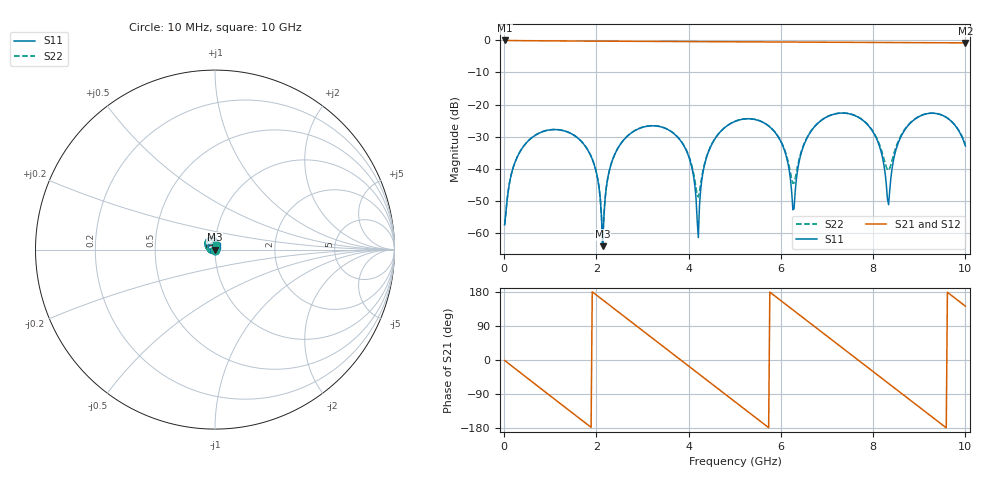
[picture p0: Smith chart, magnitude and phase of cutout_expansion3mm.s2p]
! Cutout equivalence validation - 38 mm 50 ohm symmetric stripline
! Case: Cutout, 3 mm expansion, stitching vias kept
! Solver: Ansys HFSS 3D Layout 2026 R1, broadband adaptive 1-5 GHz,
!  Delta S 0.02, interpolating sweep 10 MHz - 10 GHz
# GHz S MA R 50.000000
! Terminal data exported
! Port[1] = U1.PAD1.SIG
! Port[2] = U2.PAD1.SIG
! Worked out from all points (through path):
!   401 points, 10 MHz to 10 GHz, reference 50 ohm
!   highest |S21| = -0.01 dB at 10 MHz (marker M1); lowest = -0.8 dB at 10 GHz (marker M2)
!   group delay of S21, straight-line fit = 260 ps
!   lowest |S11| = -64.2 dB at 2.135 GHz (marker M3), VSWR 1.00, Z = 49.9 + j0.0304 ohm
!   |S11| at or under -10 dB: start of sweep to end of sweep
!   |S22| runs from -63.2 to -22.6 dB; largest |S21 - S12| = 1.4e-13
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0.01  0.001325 -11.7  0.9986 -1.0  0.9986 -1.0  0.001325 -11.7
0.21  0.01114 -91.2  0.9941 -20.1  0.9941 -20.1  0.01118 -90.8
0.535  0.02763 -132.1  0.989 -50.8  0.989 -50.8  0.02774 -131.1
1.085  0.04062 171.4  0.9822 -102.6  0.9822 -102.6  0.04081 173.3
1.685  0.02603 113.2  0.9768 -159.0  0.9768 -159.0  0.02616 116.2
1.96  0.01106 88.5  0.9746 175.2  0.9746 175.2  0.01112 92.1
2.135  0.0006161 150.4  0.9732 158.8  0.9732 158.8  0.0006881 153.9
2.485  0.02193 -146.4  0.97 125.9  0.97 125.9  0.02202 -142.4
3.36  0.04546 132.1  0.9621 43.9  0.9621 43.9  0.04568 138.3
3.935  0.02014 79.4  0.9585 -10.0  0.9585 -10.0  0.02052 91.3
4.21  0.000836 -175.1  0.9566 -35.8  0.9566 -35.8  0.003606 154.3
4.46  0.0207 -153.1  0.9546 -59.2  0.9546 -59.2  0.02097 -156.6
5.01  0.05469 156.9  0.9494 -110.7  0.9494 -110.7  0.05484 159.6
5.885  0.03581 77.6  0.944 167.4  0.944 167.4  0.03618 86.0
6.26  0.00228 97.9  0.942 132.3  0.942 132.3  0.005889 121.6
6.685  0.04115 177.8  0.9383 92.4  0.9383 92.4  0.04157 176.5
7.785  0.05613 79.3  0.9303 -10.4  0.9303 -10.4  0.05662 85.9
8.11  0.02533 52.6  0.9293 -40.9  0.9293 -40.9  0.02669 68.0
8.335  0.002726 133.8  0.9281 -62.0  0.9281 -62.0  0.009398 123.3
8.56  0.02693 -179.7  0.9263 -83.1  0.9263 -83.1  0.02841 168.4
8.96  0.06272 147.5  0.9222 -120.6  0.9222 -120.6  0.0632 144.5
10  0.02255 61.0  0.9169 142.0  0.9169 142.0  0.02407 73.4
